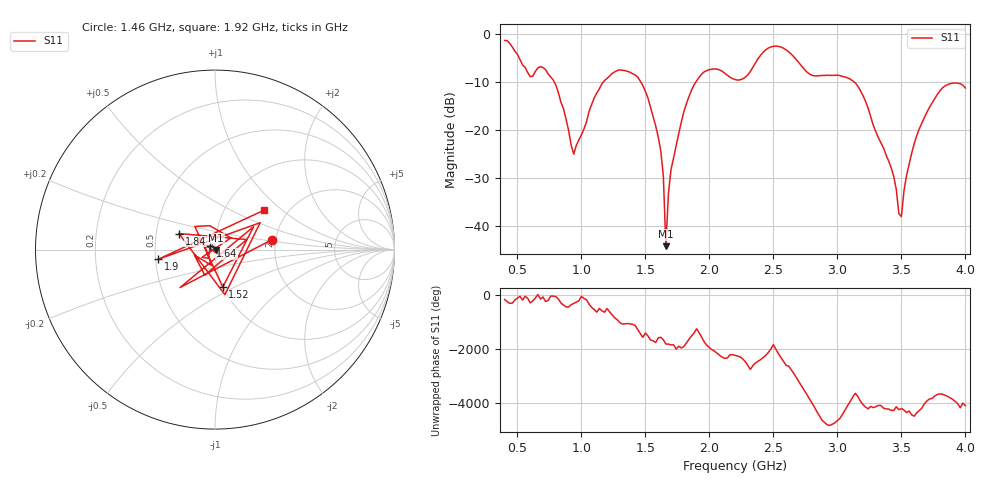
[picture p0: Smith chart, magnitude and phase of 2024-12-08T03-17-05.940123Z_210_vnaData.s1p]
!Created with skrf (http://scikit-rf.org).
# Hz S RI R 50.0
!freq ReS11 ImS11
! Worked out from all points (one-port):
!   181 points, 400 MHz to 4 GHz, reference 50 ohm
!   lowest |S11| = -44.2 dB at 1.66 GHz (marker M1), VSWR 1.01, Z = 50.6 - j0.225 ohm
!   |S11| at or under -10 dB: 786.5 MHz to 1.174 GHz (387.5 MHz wide, 39.5 % of centre); 1.462 GHz to 1.896 GHz (433.9 MHz wide, 25.8 % of centre); 3.127 GHz to end of sweep
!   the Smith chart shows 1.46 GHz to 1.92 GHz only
!   S11 on the Smith chart (normalised r, x): 1.46 GHz: 1.90, +0.23; 1.52 GHz: 1.00, -0.44; 1.64 GHz: 0.95, +0.04; 1.84 GHz: 0.66, +0.12; 1.9 GHz: 0.52, -0.06; 1.92 GHz: 1.52, +0.76
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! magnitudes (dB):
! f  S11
! 400 MHz  -1.4
! 600 MHz  -9.0
! 720 MHz  -7.5
! 860 MHz  -15.6
! 940 MHz  -25.1
! 1.12 GHz  -12.4
! 1.3 GHz  -7.5
! 1.46 GHz  -9.9
! 1.52 GHz  -13.4
! 1.6 GHz  -21.5
! 1.64 GHz  -29.6
! 1.66 GHz  -44.2
! 1.68 GHz  -33.2
! 1.7 GHz  -28.2
! 1.76 GHz  -20.8
! 1.84 GHz  -13.1
! 1.9 GHz  -9.8
! 1.92 GHz  -9.1
! 2.2 GHz  -9.6
! 2.48 GHz  -2.8
! 2.66 GHz  -4.9
! 3.1 GHz  -9.5
! 3.42 GHz  -27.9
! 3.48 GHz  -37.4
! 3.5 GHz  -38.1
! 3.56 GHz  -27.3
! 3.78 GHz  -12.7
! 4 GHz  -11.3
